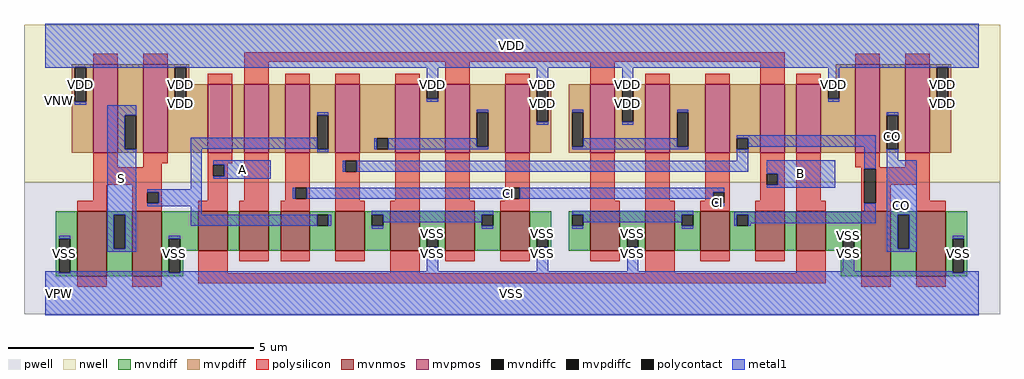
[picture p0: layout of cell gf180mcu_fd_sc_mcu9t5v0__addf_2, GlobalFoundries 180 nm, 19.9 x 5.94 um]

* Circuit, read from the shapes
.subckt gf180mcu_fd_sc_mcu9t5v0__addf_2 A B CI CO S VDD VNW VPW VSS
XM1 S n1 VSS VPW nfet_06v0 w=1.32u l=0.6u m=2
XM2 n2 A VSS VPW nfet_06v0 w=0.8u l=0.6u
XM3 n3 B n2 VPW nfet_06v0 w=0.8u l=0.6u
XM4 n1 CI n3 VPW nfet_06v0 w=0.8u l=0.6u
XM5 n4 n5 n1 VPW nfet_06v0 w=0.8u l=0.6u
XM6 VSS A n4 VPW nfet_06v0 w=0.8u l=0.6u
XM7 n4 B VSS VPW nfet_06v0 w=0.8u l=0.6u
XM8 VSS CI n4 VPW nfet_06v0 w=0.8u l=0.6u
XM9 VSS B n6 VPW nfet_06v0 w=0.8u l=0.6u
XM10 n6 A VSS VPW nfet_06v0 w=0.8u l=0.6u
XM11 n5 CI n6 VPW nfet_06v0 w=0.8u l=0.6u
XM12 n7 B n5 VPW nfet_06v0 w=0.8u l=0.6u
XM13 VSS A n7 VPW nfet_06v0 w=0.8u l=0.6u
XM14 CO n5 VSS VPW nfet_06v0 w=1.32u l=0.6u m=2
XM15 S n1 VDD VNW pfet_06v0 w=1.8u l=0.5u m=2
XM16 n8 A VDD VNW pfet_06v0 w=1.39u l=0.5u
XM17 n9 B n8 VNW pfet_06v0 w=1.39u l=0.5u
XM18 n1 CI n9 VNW pfet_06v0 w=1.39u l=0.5u
XM19 n10 n5 n1 VNW pfet_06v0 w=1.39u l=0.5u
XM20 VDD A n10 VNW pfet_06v0 w=1.39u l=0.5u
XM21 n10 B VDD VNW pfet_06v0 w=1.39u l=0.5u
XM22 VDD CI n10 VNW pfet_06v0 w=1.39u l=0.5u
XM23 VDD B n11 VNW pfet_06v0 w=1.39u l=0.5u
XM24 n11 A VDD VNW pfet_06v0 w=1.39u l=0.5u
XM25 n5 CI n11 VNW pfet_06v0 w=1.39u l=0.5u
XM26 n12 B n5 VNW pfet_06v0 w=1.39u l=0.5u
XM27 VDD A n12 VNW pfet_06v0 w=1.39u l=0.5u
XM28 CO n5 VDD VNW pfet_06v0 w=1.8u l=0.5u m=2
.ends

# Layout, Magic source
magic
tech gf180mcuD
magscale 1 10
<< nwell >>
rect -86 453 3894 1094
<< pwell >>
rect -86 -86 3894 453
<< mvnmos >>
rect 132 69 252 333
rect 356 69 476 333
rect 624 173 744 333
rect 792 173 912 333
rect 960 173 1080 333
rect 1184 173 1304 333
rect 1408 173 1528 333
rect 1632 173 1752 333
rect 1856 173 1976 333
rect 2224 173 2344 333
rect 2448 173 2568 333
rect 2672 173 2792 333
rect 2896 173 3016 333
rect 3064 173 3184 333
rect 3328 69 3448 333
rect 3552 69 3672 333
<< mvpmos >>
rect 196 573 296 933
rect 400 573 500 933
rect 664 573 764 851
rect 812 573 912 851
rect 980 573 1080 851
rect 1184 573 1284 851
rect 1428 573 1528 851
rect 1632 573 1732 851
rect 1876 573 1976 851
rect 2224 573 2324 851
rect 2448 573 2548 851
rect 2692 573 2792 851
rect 2916 573 3016 851
rect 3064 573 3164 851
rect 3304 573 3404 933
rect 3508 573 3608 933
<< mvndiff >>
rect 44 222 132 333
rect 44 82 57 222
rect 103 82 132 222
rect 44 69 132 82
rect 252 320 356 333
rect 252 180 281 320
rect 327 180 356 320
rect 252 69 356 180
rect 476 222 624 333
rect 476 82 505 222
rect 551 173 624 222
rect 744 173 792 333
rect 912 173 960 333
rect 1080 320 1184 333
rect 1080 274 1109 320
rect 1155 274 1184 320
rect 1080 173 1184 274
rect 1304 320 1408 333
rect 1304 274 1333 320
rect 1379 274 1408 320
rect 1304 173 1408 274
rect 1528 232 1632 333
rect 1528 186 1557 232
rect 1603 186 1632 232
rect 1528 173 1632 186
rect 1752 320 1856 333
rect 1752 274 1781 320
rect 1827 274 1856 320
rect 1752 173 1856 274
rect 1976 232 2064 333
rect 1976 186 2005 232
rect 2051 186 2064 232
rect 1976 173 2064 186
rect 2136 320 2224 333
rect 2136 274 2149 320
rect 2195 274 2224 320
rect 2136 173 2224 274
rect 2344 232 2448 333
rect 2344 186 2373 232
rect 2419 186 2448 232
rect 2344 173 2448 186
rect 2568 320 2672 333
rect 2568 274 2597 320
rect 2643 274 2672 320
rect 2568 173 2672 274
rect 2792 320 2896 333
rect 2792 274 2821 320
rect 2867 274 2896 320
rect 2792 173 2896 274
rect 3016 173 3064 333
rect 3184 228 3328 333
rect 3184 182 3253 228
rect 3299 182 3328 228
rect 3184 173 3328 182
rect 551 82 564 173
rect 476 69 564 82
rect 3244 69 3328 173
rect 3448 320 3552 333
rect 3448 180 3477 320
rect 3523 180 3552 320
rect 3448 69 3552 180
rect 3672 222 3760 333
rect 3672 82 3701 222
rect 3747 82 3760 222
rect 3672 69 3760 82
<< mvpdiff >>
rect 108 920 196 933
rect 108 780 121 920
rect 167 780 196 920
rect 108 573 196 780
rect 296 726 400 933
rect 296 586 325 726
rect 371 586 400 726
rect 296 573 400 586
rect 500 920 588 933
rect 500 780 529 920
rect 575 851 588 920
rect 3224 851 3304 933
rect 575 780 664 851
rect 500 573 664 780
rect 764 573 812 851
rect 912 573 980 851
rect 1080 726 1184 851
rect 1080 586 1109 726
rect 1155 586 1184 726
rect 1080 573 1184 586
rect 1284 632 1428 851
rect 1284 586 1353 632
rect 1399 586 1428 632
rect 1284 573 1428 586
rect 1528 838 1632 851
rect 1528 792 1557 838
rect 1603 792 1632 838
rect 1528 573 1632 792
rect 1732 737 1876 851
rect 1732 597 1761 737
rect 1807 597 1876 737
rect 1732 573 1876 597
rect 1976 838 2064 851
rect 1976 698 2005 838
rect 2051 698 2064 838
rect 1976 573 2064 698
rect 2136 737 2224 851
rect 2136 597 2149 737
rect 2195 597 2224 737
rect 2136 573 2224 597
rect 2324 838 2448 851
rect 2324 698 2353 838
rect 2399 698 2448 838
rect 2324 573 2448 698
rect 2548 737 2692 851
rect 2548 597 2577 737
rect 2623 597 2692 737
rect 2548 573 2692 597
rect 2792 632 2916 851
rect 2792 586 2821 632
rect 2867 586 2916 632
rect 2792 573 2916 586
rect 3016 573 3064 851
rect 3164 838 3304 851
rect 3164 792 3193 838
rect 3239 792 3304 838
rect 3164 573 3304 792
rect 3404 726 3508 933
rect 3404 586 3433 726
rect 3479 586 3508 726
rect 3404 573 3508 586
rect 3608 920 3696 933
rect 3608 780 3637 920
rect 3683 780 3696 920
rect 3608 573 3696 780
<< mvndiffc >>
rect 57 82 103 222
rect 281 180 327 320
rect 505 82 551 222
rect 1109 274 1155 320
rect 1333 274 1379 320
rect 1557 186 1603 232
rect 1781 274 1827 320
rect 2005 186 2051 232
rect 2149 274 2195 320
rect 2373 186 2419 232
rect 2597 274 2643 320
rect 2821 274 2867 320
rect 3253 182 3299 228
rect 3477 180 3523 320
rect 3701 82 3747 222
<< mvpdiffc >>
rect 121 780 167 920
rect 325 586 371 726
rect 529 780 575 920
rect 1109 586 1155 726
rect 1353 586 1399 632
rect 1557 792 1603 838
rect 1761 597 1807 737
rect 2005 698 2051 838
rect 2149 597 2195 737
rect 2353 698 2399 838
rect 2577 597 2623 737
rect 2821 586 2867 632
rect 3193 792 3239 838
rect 3433 586 3479 726
rect 3637 780 3683 920
<< polysilicon >>
rect 196 933 296 977
rect 400 933 500 977
rect 812 943 3016 983
rect 664 851 764 895
rect 812 851 912 943
rect 980 851 1080 895
rect 1184 851 1284 895
rect 1428 851 1528 895
rect 1632 851 1732 943
rect 1876 851 1976 895
rect 2224 851 2324 943
rect 2448 851 2548 895
rect 2692 851 2792 895
rect 2916 851 3016 943
rect 3304 933 3404 977
rect 3508 933 3608 977
rect 3064 851 3164 895
rect 196 513 296 573
rect 400 529 500 573
rect 664 529 764 573
rect 400 513 476 529
rect 196 441 476 513
rect 196 377 252 441
rect 132 333 252 377
rect 356 412 476 441
rect 356 366 417 412
rect 463 366 476 412
rect 664 523 744 529
rect 664 477 685 523
rect 731 477 744 523
rect 664 377 744 477
rect 812 377 912 573
rect 980 430 1080 573
rect 980 384 1021 430
rect 1067 384 1080 430
rect 980 377 1080 384
rect 356 333 476 366
rect 624 333 744 377
rect 792 333 912 377
rect 960 333 1080 377
rect 1184 540 1284 573
rect 1184 494 1225 540
rect 1271 494 1284 540
rect 1184 377 1284 494
rect 1428 377 1528 573
rect 1184 333 1304 377
rect 1408 333 1528 377
rect 1632 377 1732 573
rect 1876 430 1976 573
rect 1876 384 1889 430
rect 1935 384 1976 430
rect 1876 377 1976 384
rect 1632 333 1752 377
rect 1856 333 1976 377
rect 2224 377 2324 573
rect 2448 377 2548 573
rect 2692 412 2792 573
rect 2692 377 2724 412
rect 2224 333 2344 377
rect 2448 333 2568 377
rect 2672 366 2724 377
rect 2770 366 2792 412
rect 2916 487 3016 573
rect 2916 441 2942 487
rect 2988 441 3016 487
rect 2916 377 3016 441
rect 2672 333 2792 366
rect 2896 333 3016 377
rect 3064 377 3164 573
rect 3304 513 3404 573
rect 3508 513 3608 573
rect 3328 508 3608 513
rect 3064 333 3184 377
rect 3328 366 3341 508
rect 3387 441 3608 508
rect 3387 366 3448 441
rect 3328 333 3448 366
rect 3552 377 3608 441
rect 3552 333 3672 377
rect 624 81 744 173
rect 792 129 912 173
rect 960 129 1080 173
rect 1184 129 1304 173
rect 1408 81 1528 173
rect 1632 129 1752 173
rect 1856 129 1976 173
rect 2224 129 2344 173
rect 2448 81 2568 173
rect 2672 129 2792 173
rect 2896 129 3016 173
rect 3064 81 3184 173
rect 132 25 252 69
rect 356 25 476 69
rect 624 41 3184 81
rect 3328 25 3448 69
rect 3552 25 3672 69
<< polycontact >>
rect 417 366 463 412
rect 685 477 731 523
rect 1021 384 1067 430
rect 1225 494 1271 540
rect 1889 384 1935 430
rect 2724 366 2770 412
rect 2942 441 2988 487
rect 3341 366 3387 508
<< metal1 >>
rect 0 920 3808 1098
rect 0 918 121 920
rect 167 918 529 920
rect 121 769 167 780
rect 575 918 3637 920
rect 1557 838 1603 918
rect 1557 781 1603 792
rect 2005 838 2051 918
rect 529 769 575 780
rect 254 726 371 766
rect 1761 737 1807 748
rect 254 586 325 726
rect 1109 726 1155 737
rect 254 320 371 586
rect 593 588 1109 634
rect 593 423 639 588
rect 1342 586 1353 632
rect 1399 597 1761 632
rect 2353 838 2399 918
rect 2005 687 2051 698
rect 2149 737 2195 748
rect 1399 586 1807 597
rect 3193 838 3239 918
rect 3193 781 3239 792
rect 3683 918 3808 920
rect 3637 769 3683 780
rect 2353 687 2399 698
rect 2577 737 2623 748
rect 2195 597 2577 632
rect 3433 726 3479 737
rect 2149 586 2623 597
rect 2821 632 3387 643
rect 2867 597 3387 632
rect 1109 575 1155 586
rect 685 523 921 542
rect 2821 540 2867 586
rect 731 477 921 523
rect 1214 494 1225 540
rect 1271 494 2867 540
rect 685 466 921 477
rect 2942 487 3222 542
rect 2988 441 3222 487
rect 2942 430 3222 441
rect 3341 508 3387 597
rect 417 412 639 423
rect 463 366 639 412
rect 1010 384 1021 430
rect 1067 384 1889 430
rect 1935 412 2770 430
rect 1935 384 2724 412
rect 417 355 639 366
rect 57 222 103 233
rect 0 82 57 90
rect 254 180 281 320
rect 327 180 371 320
rect 593 320 639 355
rect 2718 366 2724 384
rect 2718 354 2770 366
rect 1333 320 1827 335
rect 593 274 1109 320
rect 1155 274 1166 320
rect 1379 289 1781 320
rect 1333 263 1379 274
rect 1781 263 1827 274
rect 2149 320 2643 335
rect 3341 331 3387 366
rect 2195 289 2597 320
rect 2149 263 2195 274
rect 2810 320 3387 331
rect 2810 274 2821 320
rect 2867 285 3387 320
rect 3433 542 3479 586
rect 3433 320 3554 542
rect 2867 274 2878 285
rect 2597 263 2643 274
rect 254 169 371 180
rect 505 222 551 233
rect 103 82 505 90
rect 1557 232 1603 243
rect 1557 90 1603 186
rect 2005 232 2051 243
rect 2005 90 2051 186
rect 2373 232 2419 243
rect 2373 90 2419 186
rect 3253 228 3299 239
rect 3253 90 3299 182
rect 3433 180 3477 320
rect 3523 180 3554 320
rect 3433 169 3554 180
rect 3701 222 3747 233
rect 551 82 3701 90
rect 3747 82 3808 90
rect 0 -90 3808 82
<< labels >>
flabel metal1 s 685 466 921 542 0 FreeSans 200 0 0 0 A
port 1 nsew default input
flabel metal1 s 2942 430 3222 542 0 FreeSans 200 0 0 0 B
port 2 nsew default input
flabel metal1 s 1010 384 2770 430 0 FreeSans 200 0 0 0 CI
port 3 nsew default input
flabel metal1 s 3433 542 3479 737 0 FreeSans 200 0 0 0 CO
port 4 nsew default output
flabel metal1 s 254 169 371 766 0 FreeSans 200 0 0 0 S
port 5 nsew default output
flabel metal1 s 0 918 3808 1098 0 FreeSans 200 0 0 0 VDD
port 6 nsew power bidirectional abutment
flabel metal1 s 2373 239 2419 243 0 FreeSans 200 0 0 0 VSS
port 9 nsew ground bidirectional abutment
flabel nwell s 10 734 110 834 0 FreeSans 400 0 0 0 VNW
port 7 nsew power bidirectional
flabel pwell s 10 -50 110 50 0 FreeSans 400 0 0 0 VPW
port 8 nsew ground bidirectional
rlabel metal1 s 2718 354 2770 384 1 CI
port 3 nsew default input
rlabel metal1 s 3433 169 3554 542 1 CO
port 4 nsew default output
rlabel metal1 s 3637 781 3683 918 1 VDD
port 6 nsew power bidirectional abutment
rlabel metal1 s 3193 781 3239 918 1 VDD
port 6 nsew power bidirectional abutment
rlabel metal1 s 2353 781 2399 918 1 VDD
port 6 nsew power bidirectional abutment
rlabel metal1 s 2005 781 2051 918 1 VDD
port 6 nsew power bidirectional abutment
rlabel metal1 s 1557 781 1603 918 1 VDD
port 6 nsew power bidirectional abutment
rlabel metal1 s 529 781 575 918 1 VDD
port 6 nsew power bidirectional abutment
rlabel metal1 s 121 781 167 918 1 VDD
port 6 nsew power bidirectional abutment
rlabel metal1 s 3637 769 3683 781 1 VDD
port 6 nsew power bidirectional abutment
rlabel metal1 s 2353 769 2399 781 1 VDD
port 6 nsew power bidirectional abutment
rlabel metal1 s 2005 769 2051 781 1 VDD
port 6 nsew power bidirectional abutment
rlabel metal1 s 529 769 575 781 1 VDD
port 6 nsew power bidirectional abutment
rlabel metal1 s 121 769 167 781 1 VDD
port 6 nsew power bidirectional abutment
rlabel metal1 s 2353 687 2399 769 1 VDD
port 6 nsew power bidirectional abutment
rlabel metal1 s 2005 687 2051 769 1 VDD
port 6 nsew power bidirectional abutment
rlabel metal1 s 2005 239 2051 243 1 VSS
port 9 nsew ground bidirectional abutment
rlabel metal1 s 1557 239 1603 243 1 VSS
port 9 nsew ground bidirectional abutment
rlabel metal1 s 3253 233 3299 239 1 VSS
port 9 nsew ground bidirectional abutment
rlabel metal1 s 2373 233 2419 239 1 VSS
port 9 nsew ground bidirectional abutment
rlabel metal1 s 2005 233 2051 239 1 VSS
port 9 nsew ground bidirectional abutment
rlabel metal1 s 1557 233 1603 239 1 VSS
port 9 nsew ground bidirectional abutment
rlabel metal1 s 3701 90 3747 233 1 VSS
port 9 nsew ground bidirectional abutment
rlabel metal1 s 3253 90 3299 233 1 VSS
port 9 nsew ground bidirectional abutment
rlabel metal1 s 2373 90 2419 233 1 VSS
port 9 nsew ground bidirectional abutment
rlabel metal1 s 2005 90 2051 233 1 VSS
port 9 nsew ground bidirectional abutment
rlabel metal1 s 1557 90 1603 233 1 VSS
port 9 nsew ground bidirectional abutment
rlabel metal1 s 505 90 551 233 1 VSS
port 9 nsew ground bidirectional abutment
rlabel metal1 s 57 90 103 233 1 VSS
port 9 nsew ground bidirectional abutment
rlabel metal1 s 0 -90 3808 90 1 VSS
port 9 nsew ground bidirectional abutment
<< properties >>
string FIXED_BBOX 0 0 3808 1008
string GDS_END 1093726
string GDS_FILE $PDKPATH/libs.ref/gf180mcu_fd_sc_mcu9t5v0/gds/gf180mcu_fd_sc_mcu9t5v0.gds
string GDS_START 1085838
string LEFclass core
string LEFsite GF018hv5v_green_sc9
string LEFsymmetry X Y
<< end >>
